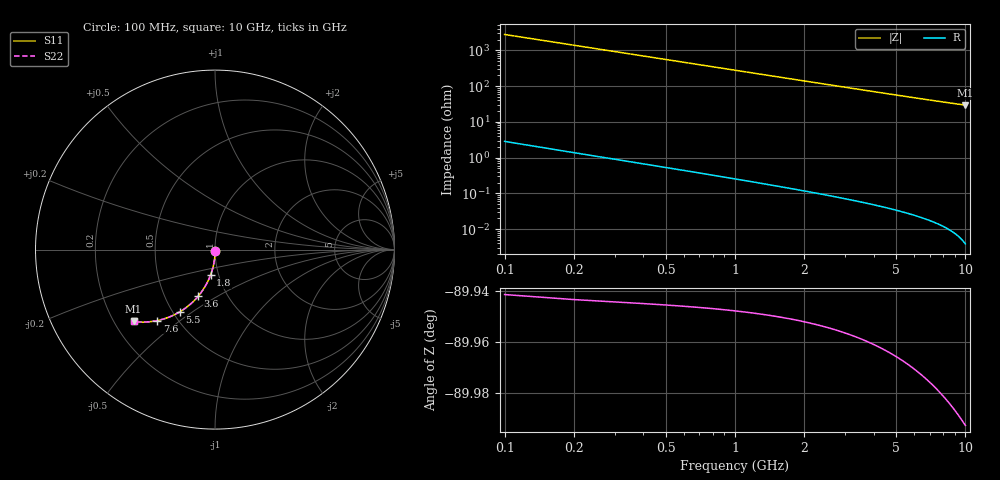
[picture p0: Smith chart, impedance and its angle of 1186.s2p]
# Hz S RI R 50.00
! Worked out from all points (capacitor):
!   100 points, 100 MHz to 10 GHz, reference 50 ohm
!   read as one part in shunt: C = 574 fF near 100 MHz
!   lowest |Z| = 29.3 ohm at 10 GHz (marker M1)
!   S11 on the Smith chart (normalised r, x): 100 MHz: 1.00, -0.02; 1.8 GHz: 0.92, -0.26; 3.6 GHz: 0.73, -0.41; 5.5 GHz: 0.54, -0.45; 7.6 GHz: 0.39, -0.42; 10 GHz: 0.28, -0.35
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1e8  0.000994 -0.00806  0.9988 -0.00997  0.9988 -0.00997  0.000994 -0.00806
2e8  0.000751 -0.0161  0.9986 -0.0199  0.9986 -0.0199  0.000751 -0.0161
3e8  0.000346 -0.0242  0.9981 -0.0299  0.9981 -0.0299  0.000346 -0.0242
4e8  -0.000219 -0.0322  0.9976 -0.0398  0.9976 -0.0398  -0.000219 -0.0322
5e8  -0.000945 -0.0402  0.9968 -0.0498  0.9968 -0.0498  -0.000945 -0.0402
6e8  -0.00183 -0.0482  0.9959 -0.0597  0.9959 -0.0597  -0.00183 -0.0482
8e8  -0.00407 -0.0641  0.9936 -0.0794  0.9936 -0.0794  -0.00407 -0.0641
1.1e9  -0.00861 -0.0877  0.9889 -0.1087  0.9889 -0.1087  -0.00861 -0.0877
1.4e9  -0.0145 -0.1109  0.9829 -0.1377  0.9829 -0.1377  -0.0145 -0.1109
1.8e9  -0.0244 -0.141  0.9727 -0.1754  0.9727 -0.1754  -0.0244 -0.141
2.1e9  -0.0333 -0.1629  0.9636 -0.203  0.9636 -0.203  -0.0333 -0.1629
2.5e9  -0.047 -0.1909  0.9495 -0.2387  0.9495 -0.2387  -0.047 -0.1909
2.9e9  -0.0626 -0.2174  0.9335 -0.2729  0.9335 -0.2729  -0.0626 -0.2174
3.4e9  -0.0845 -0.2483  0.911 -0.3135  0.911 -0.3135  -0.0845 -0.2483
3.6e9  -0.0939 -0.26  0.9013 -0.3289  0.9013 -0.3289  -0.0939 -0.26
4.3e9  -0.1294 -0.297  0.8648 -0.3795  0.8648 -0.3795  -0.1294 -0.297
5.1e9  -0.1736 -0.3323  0.8191 -0.4303  0.8191 -0.4303  -0.1736 -0.3323
5.5e9  -0.1967 -0.3471  0.7952 -0.4528  0.7952 -0.4528  -0.1967 -0.3471
6.7e9  -0.2678 -0.3804  0.7213 -0.5096  0.7213 -0.5096  -0.2678 -0.3804
7.6e9  -0.3211 -0.3953  0.6655 -0.5423  0.6655 -0.5423  -0.3211 -0.3953
8.4e9  -0.3672 -0.4021  0.6168 -0.565  0.6168 -0.565  -0.3672 -0.4021
1e10  -0.4533 -0.4004  0.5247 -0.5956  0.5247 -0.5956  -0.4533 -0.4004
